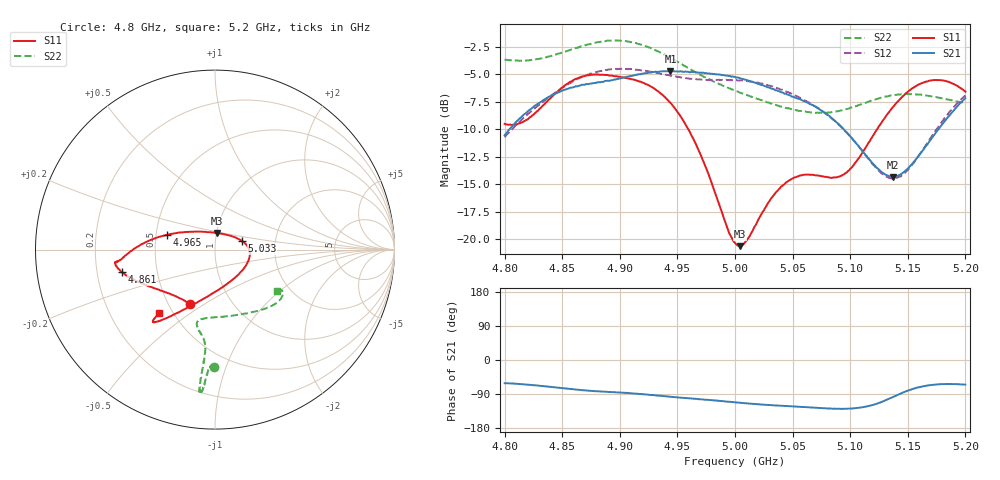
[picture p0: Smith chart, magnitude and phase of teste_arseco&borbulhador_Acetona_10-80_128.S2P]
! Network Analyzer HP8722D
! Hewlett-Packard
! Data name: Linha & Wilkinson
! Saver's name: Rodrigo Anjos
! Comments: Teste da utilização de aquisição
! continua pelo VNA HP8722D
! Time and date: 17/4/2025 15:25
!  Frequency  S11  S21  S12  S22
# HZ  S  MA R 50
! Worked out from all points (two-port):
!   401 points, 4.8 GHz to 5.2 GHz, reference 50 ohm
!   highest |S21| = -4.69 dB at 4.944 GHz (marker M1); lowest = -14.3 dB at 5.137 GHz (marker M2)
!   |S21| within 3 dB of the highest: 4.829 GHz to 5.065 GHz (235.8 MHz wide, 4.77 % of centre); 5.194775 GHz to end of sweep
!   lowest |S11| = -20.6 dB at 5.004 GHz (marker M3), VSWR 1.20, Z = 50.4 + j9.35 ohm
!   |S11| at or under -10 dB: 4.959 GHz to 5.123 GHz (163.9 MHz wide, 3.25 % of centre)
!   |S22| runs from -8.5 to -1.9 dB; largest |S21 - S12| = 0.87
!   S11 on the Smith chart (normalised r, x): 4.8 GHz: 0.64, -0.44; 4.861 GHz: 0.31, -0.11; 4.965 GHz: 0.57, +0.10; 5.033 GHz: 1.34, +0.14; 5.2 GHz: 0.42, -0.38
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4.8e9  0.3346 -114.4  0.2971 -61.3  0.291 -175.4  0.6566 -90.4
4.819e9  0.3494 -134.4  0.3768 -64.7  0.3658 -174.4  0.6513 -92.1
4.861e9  0.5344 -166.4  0.494 -77.6  0.5285 -177.5  0.7387 -94.3
4.867e9  0.5494 -168.7  0.5046 -79.4  0.5469 -178.6  0.7561 -94.6
4.9e9  0.5488 -173.0  0.5387 -85.9  0.5959 174.9  0.8013 -96.0
4.934e9  0.4679 -179.1  0.5786 -94.2  0.5704 171.3  0.7117 -96.2
4.944e9  0.4172 176.5  0.5829 -96.9  0.5548 171.4  0.6703 -96.0
4.965e9  0.278 162.6  0.5777 -102.7  0.5364 173.2  0.5781 -95.6
5e9  0.09589 97.1  0.5477 -111.6  0.53 175.6  0.4737 -99.5
5.004e9  0.09279 82.1  0.5414 -112.7  0.5271 175.5  0.4657 -100.4
5.011e9  0.1001 58.7  0.5284 -114.6  0.5237 175.2  0.4514 -102.0
5.033e9  0.1569 18.3  0.484 -119.4  0.4951 174.2  0.4108 -103.7
5.049e9  0.1872 2.2  0.4462 -122.0  0.4597 173.5  0.3906 -99.7
5.067e9  0.1962 -16.9  0.4083 -125.4  0.4108 173.3  0.3771 -90.0
5.085e9  0.1907 -45.2  0.3511 -128.6  0.3513 173.3  0.3797 -76.3
5.097e9  0.2011 -69.5  0.3051 -128.6  0.3059 174.6  0.3909 -66.6
5.121e9  0.3019 -107.4  0.2169 -117.4  0.2155 -172.2  0.4315 -49.7
5.134e9  0.381 -118.0  0.1932 -102.1  0.1895 -155.0  0.4493 -43.0
5.137e9  0.3988 -119.7  0.1918 -97.9  0.1892 -150.2  0.4521 -41.7
5.15e9  0.4687 -125.4  0.2095 -81.1  0.2064 -130.5  0.4577 -36.9
5.17e9  0.5274 -130.0  0.284 -66.1  0.2894 -112.3  0.4476 -32.3
5.2e9  0.4691 -131.4  0.4388 -65.1  0.4512 -107.2  0.4156 -33.8
